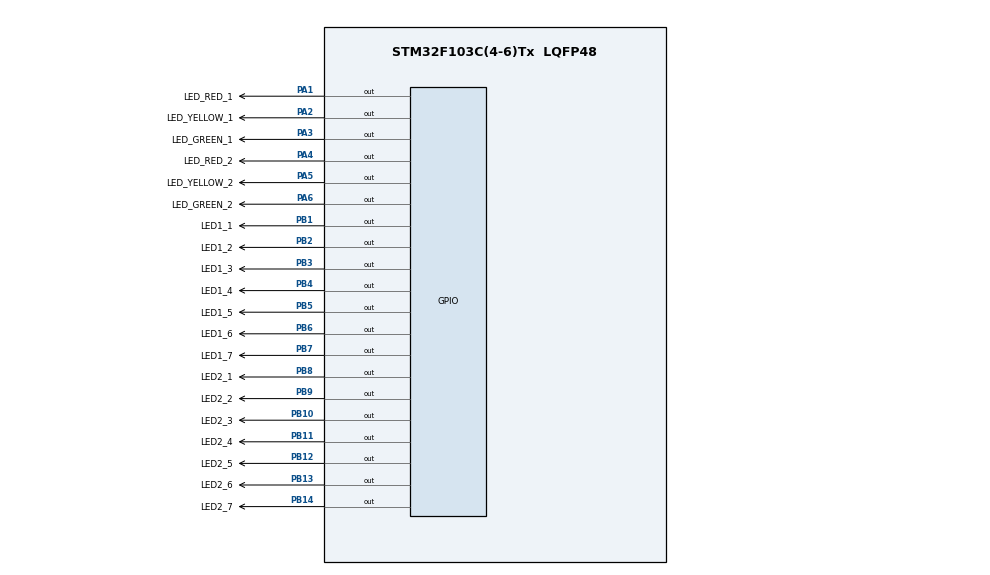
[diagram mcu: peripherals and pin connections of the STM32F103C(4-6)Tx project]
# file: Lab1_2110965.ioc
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Mcu.Family=STM32F1
Mcu.Name=STM32F103C(4-6)Tx
Mcu.Package=LQFP48
NVIC.PriorityGroup=NVIC_PRIORITYGROUP_4
PA1.GPIO_Label=LED_RED_1
PA1.Signal=GPIO_Output
PA2.GPIO_Label=LED_YELLOW_1
PA2.Signal=GPIO_Output
PA3.GPIO_Label=LED_GREEN_1
PA3.Signal=GPIO_Output
PA4.GPIO_Label=LED_RED_2
PA4.Signal=GPIO_Output
PA5.GPIO_Label=LED_YELLOW_2
PA5.Signal=GPIO_Output
PA6.GPIO_Label=LED_GREEN_2
PA6.Signal=GPIO_Output
PB1.GPIO_Label=LED1_1
PB1.Signal=GPIO_Output
PB10.GPIO_Label=LED2_3
PB10.Signal=GPIO_Output
PB11.GPIO_Label=LED2_4
PB11.Signal=GPIO_Output
PB12.GPIO_Label=LED2_5
PB12.Signal=GPIO_Output
PB13.GPIO_Label=LED2_6
PB13.Signal=GPIO_Output
PB14.GPIO_Label=LED2_7
PB14.Signal=GPIO_Output
PB2.GPIO_Label=LED1_2
PB2.Signal=GPIO_Output
PB3.GPIO_Label=LED1_3
PB3.Signal=GPIO_Output
PB4.GPIO_Label=LED1_4
PB4.Signal=GPIO_Output
PB5.GPIO_Label=LED1_5
PB5.Signal=GPIO_Output
PB6.GPIO_Label=LED1_6
PB6.Signal=GPIO_Output
PB7.GPIO_Label=LED1_7
PB7.Signal=GPIO_Output
PB8.GPIO_Label=LED2_1
PB8.Signal=GPIO_Output
PB9.GPIO_Label=LED2_2
PB9.Signal=GPIO_Output
ProjectManager.HeapSize=0x200
ProjectManager.StackSize=0x400
ProjectManager.TargetToolchain=STM32CubeIDE
RCC.APB1Freq_Value=8000000
RCC.APB2Freq_Value=8000000
board=custom

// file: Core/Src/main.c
/* USER CODE BEGIN Header */
/**
  ******************************************************************************
  * @file           : main.c
  * @brief          : Main program body
  ******************************************************************************
  * @attention
  *
  * Copyright (c) 2024 STMicroelectronics.
  * All rights reserved.
  *
  * This software is licensed under terms that can be found in the LICENSE file
  * in the root directory of this software component.
  * If no LICENSE file comes with this software, it is provided AS-IS.
  *
  ******************************************************************************
  */
/* USER CODE END Header */
#include "main.h"

void SystemClock_Config(void);
static void MX_GPIO_Init(void);

/* USER CODE BEGIN 0 */
//	void exercise1(){
//		int count = 0;
//		int count2 = 0;
//		int led_status_red = 1;
//		int led_status_yellow = 0;
//		while(1){
//			if (count < 2){
//				count++;
//				HAL_GPIO_WritePin(LED_RED_GPIO_Port, LED_RED_Pin, led_status_red);
//			}
//			else{
//				count = 0;
//				led_status_red = 1 - led_status_red;
//			}
//			if (count2 < 2){
//				count2++;
//				HAL_GPIO_WritePin(LED_YELLOW_GPIO_Port, LED_YELLOW_Pin, led_status_yellow);
//			}
//			else{
//				count2 = 0;
//				led_status_yellow = 1 - led_status_yellow;
//			}
//			HAL_Delay(1000);
//		}
//	}
//	void exercise2(){
//		int count = 0;
//		int led_on = 0;
//		int led_off = 1;
//		while(1){
//			if (count < 5){
//				HAL_GPIO_WritePin(LED_RED_GPIO_Port, LED_RED_Pin, led_on);
//				HAL_GPIO_WritePin(LED_YELLOW_GPIO_Port, LED_YELLOW_Pin, led_off);
//				HAL_GPIO_WritePin(LED_GREEN_GPIO_Port, LED_GREEN_Pin, led_off);
//				count++;
//			}
//			else if (count >= 5 && count < 7){
//				HAL_GPIO_WritePin(LED_RED_GPIO_Port, LED_RED_Pin, led_off);
//				HAL_GPIO_WritePin(LED_YELLOW_GPIO_Port, LED_YELLOW_Pin, led_on);
//				HAL_GPIO_WritePin(LED_GREEN_GPIO_Port, LED_GREEN_Pin, led_off);
//				count++;
//			}
//			else if (count >= 7 && count < 10){
//				HAL_GPIO_WritePin(LED_RED_GPIO_Port, LED_RED_Pin, led_off);
//				HAL_GPIO_WritePin(LED_YELLOW_GPIO_Port, LED_YELLOW_Pin, led_off);
//				HAL_GPIO_WritePin(LED_GREEN_GPIO_Port, LED_GREEN_Pin, led_on);
//				count ++;
//			}
//			else{
//				count = 0;
//				HAL_GPIO_WritePin(LED_RED_GPIO_Port, LED_RED_Pin, led_on);
//				HAL_GPIO_WritePin(LED_YELLOW_GPIO_Port, LED_YELLOW_Pin, led_off);
//				HAL_GPIO_WritePin(LED_GREEN_GPIO_Port, LED_GREEN_Pin, led_off);
//			}
//			HAL_Delay(1000);
//		}
//	}
//	void exercise3(){
//		int led_on = 0;
//		int led_off = 1;
//		int count1 = 0;
//		while (1){
//			if (count1 < 5){
//				count1++;
//				HAL_GPIO_WritePin(LED_RED_1_GPIO_Port, LED_RED_1_Pin, led_on);
//				HAL_GPIO_WritePin(LED_YELLOW_1_GPIO_Port, LED_YELLOW_1_Pin, led_off);
//				HAL_GPIO_WritePin(LED_GREEN_1_GPIO_Port, LED_GREEN_1_Pin, led_off);
//
//				HAL_GPIO_WritePin(LED_RED_2_GPIO_Port, LED_RED_2_Pin, led_off);
//				HAL_GPIO_WritePin(LED_YELLOW_2_GPIO_Port, LED_YELLOW_2_Pin, led_off);
//				HAL_GPIO_WritePin(LED_GREEN_2_GPIO_Port, LED_GREEN_2_Pin, led_on);
//			}
//			else if (count1 >= 5 && count1 < 7){
//				count1++;
//				HAL_GPIO_WritePin(LED_RED_1_GPIO_Port, LED_RED_1_Pin, led_on);
//
//				HAL_GPIO_WritePin(LED_GREEN_2_GPIO_Port, LED_GREEN_2_Pin, led_off);
//				HAL_GPIO_WritePin(LED_YELLOW_2_GPIO_Port, LED_YELLOW_2_Pin, led_on);
//			}
//			else if (count1 >= 7 && count1 < 12){
//				count1++;
//				HAL_GPIO_WritePin(LED_RED_1_GPIO_Port, LED_RED_1_Pin, led_off);
//				HAL_GPIO_WritePin(LED_GREEN_1_GPIO_Port, LED_GREEN_1_Pin, led_on);
//
//				HAL_GPIO_WritePin(LED_YELLOW_2_GPIO_Port, LED_YELLOW_2_Pin, led_off);
//				HAL_GPIO_WritePin(LED_RED_2_GPIO_Port, LED_RED_2_Pin, led_on);
//			}
//			else if (count1 >= 12 && count1 < 14){
//				count1++;
//				HAL_GPIO_WritePin(LED_GREEN_1_GPIO_Port, LED_GREEN_1_Pin, led_off);
//				HAL_GPIO_WritePin(LED_YELLOW_1_GPIO_Port, LED_YELLOW_1_Pin, led_on);
//
//				HAL_GPIO_WritePin(LED_GREEN_2_GPIO_Port, LED_GREEN_2_Pin, led_off);
//				HAL_GPIO_WritePin(LED_RED_2_GPIO_Port, LED_RED_2_Pin, led_on);
//			}
//
//			else if (count1 >= 14) {
//				count1 = 0;
//				HAL_GPIO_WritePin(LED_YELLOW_1_GPIO_Port, LED_YELLOW_1_Pin, led_off);
//				HAL_GPIO_WritePin(LED_RED_1_GPIO_Port, LED_RED_1_Pin, led_on);
//
//				HAL_GPIO_WritePin(LED_RED_2_GPIO_Port, LED_RED_2_Pin, led_off);
//				HAL_GPIO_WritePin(LED_GREEN_2_GPIO_Port, LED_GREEN_2_Pin, led_on);
//			}
//			HAL_Delay(1000);
//		}
//	}
//void display7SEG(int counter) {
//    const int led_on = 0;
//    const int led_off = 1;
//    // Tắt tất cả các LED trước khi hiển thị
//    HAL_GPIO_WritePin(LED1_GPIO_Port, LED1_Pin, led_off);
//    HAL_GPIO_WritePin(LED2_GPIO_Port, LED2_Pin, led_off);
//    HAL_GPIO_WritePin(LED3_GPIO_Port, LED3_Pin, led_off);
//    HAL_GPIO_WritePin(LED4_GPIO_Port, LED4_Pin, led_off);
//    HAL_GPIO_WritePin(LED5_GPIO_Port, LED5_Pin, led_off);
//    HAL_GPIO_WritePin(LED6_GPIO_Port, LED6_Pin, led_off);
//    HAL_GPIO_WritePin(LED7_GPIO_Port, LED7_Pin, led_off);
//
//    // Bật các LED theo giá trị của counter
//    switch (counter) {
//        case 0:
//            HAL_GPIO_WritePin(LED1_GPIO_Port, LED1_Pin, led_on);
//            HAL_GPIO_WritePin(LED2_GPIO_Port, LED2_Pin, led_on);
//            HAL_GPIO_WritePin(LED3_GPIO_Port, LED3_Pin, led_on);
//            HAL_GPIO_WritePin(LED4_GPIO_Port, LED4_Pin, led_on);
//            HAL_GPIO_WritePin(LED5_GPIO_Port, LED5_Pin, led_on);
//            HAL_GPIO_WritePin(LED6_GPIO_Port, LED6_Pin, led_on);
//            HAL_GPIO_WritePin(LED7_GPIO_Port, LED7_Pin, led_off);
//            break;
//        case 1:
//            HAL_GPIO_WritePin(LED2_GPIO_Port, LED2_Pin, led_on);
//            HAL_GPIO_WritePin(LED3_GPIO_Port, LED3_Pin, led_on);
//            break;
//        case 2:
//            HAL_GPIO_WritePin(LED1_GPIO_Port, LED1_Pin, led_on);
//            HAL_GPIO_WritePin(LED2_GPIO_Port, LED2_Pin, led_on);
//            HAL_GPIO_WritePin(LED4_GPIO_Port, LED4_Pin, led_on);
//            HAL_GPIO_WritePin(LED5_GPIO_Port, LED5_Pin, led_on);
//            HAL_GPIO_WritePin(LED7_GPIO_Port, LED7_Pin, led_on);
//            break;
//        case 3:
//            HAL_GPIO_WritePin(LED1_GPIO_Port, LED1_Pin, led_on);
//            HAL_GPIO_WritePin(LED2_GPIO_Port, LED2_Pin, led_on);
//            HAL_GPIO_WritePin(LED3_GPIO_Port, LED3_Pin, led_on);
//            HAL_GPIO_WritePin(LED4_GPIO_Port, LED4_Pin, led_on);
//            HAL_GPIO_WritePin(LED7_GPIO_Port, LED7_Pin, led_on);
//            break;
//        case 4:
//            HAL_GPIO_WritePin(LED2_GPIO_Port, LED2_Pin, led_on);
//            HAL_GPIO_WritePin(LED3_GPIO_Port, LED3_Pin, led_on);
//            HAL_GPIO_WritePin(LED6_GPIO_Port, LED6_Pin, led_on);
//            HAL_GPIO_WritePin(LED7_GPIO_Port, LED7_Pin, led_on);
//            break;
//        case 5:
//            HAL_GPIO_WritePin(LED1_GPIO_Port, LED1_Pin, led_on);
//            HAL_GPIO_WritePin(LED3_GPIO_Port, LED3_Pin, led_on);
//            HAL_GPIO_WritePin(LED4_GPIO_Port, LED4_Pin, led_on);
//            HAL_GPIO_WritePin(LED6_GPIO_Port, LED6_Pin, led_on);
//            HAL_GPIO_WritePin(LED7_GPIO_Port, LED7_Pin, led_on);
//            break;
//        case 6:
//            HAL_GPIO_WritePin(LED1_GPIO_Port, LED1_Pin, led_on);
//            HAL_GPIO_WritePin(LED3_GPIO_Port, LED3_Pin, led_on);
//            HAL_GPIO_WritePin(LED4_GPIO_Port, LED4_Pin, led_on);
//            HAL_GPIO_WritePin(LED5_GPIO_Port, LED5_Pin, led_on);
//            HAL_GPIO_WritePin(LED6_GPIO_Port, LED6_Pin, led_on);
//            HAL_GPIO_WritePin(LED7_GPIO_Port, LED7_Pin, led_on);
//            break;
//        case 7:
//            HAL_GPIO_WritePin(LED1_GPIO_Port, LED1_Pin, led_on);
//            HAL_GPIO_WritePin(LED2_GPIO_Port, LED2_Pin, led_on);
//            HAL_GPIO_WritePin(LED3_GPIO_Port, LED3_Pin, led_on);
//            break;
//        case 8:
//            HAL_GPIO_WritePin(LED1_GPIO_Port, LED1_Pin, led_on);
//            HAL_GPIO_WritePin(LED2_GPIO_Port, LED2_Pin, led_on);
//            HAL_GPIO_WritePin(LED3_GPIO_Port, LED3_Pin, led_on);
//            HAL_GPIO_WritePin(LED4_GPIO_Port, LED4_Pin, led_on);
//            HAL_GPIO_WritePin(LED5_GPIO_Port, LED5_Pin, led_on);
//            HAL_GPIO_WritePin(LED6_GPIO_Port, LED6_Pin, led_on);
//            HAL_GPIO_WritePin(LED7_GPIO_Port, LED7_Pin, led_on);
//            break;
//        case 9:
//            HAL_GPIO_WritePin(LED1_GPIO_Port, LED1_Pin, led_on);
//            HAL_GPIO_WritePin(LED2_GPIO_Port, LED2_Pin, led_on);
//            HAL_GPIO_WritePin(LED3_GPIO_Port, LED3_Pin, led_on);
//            HAL_GPIO_WritePin(LED4_GPIO_Port, LED4_Pin, led_on);
//            HAL_GPIO_WritePin(LED6_GPIO_Port, LED6_Pin, led_on);
//            HAL_GPIO_WritePin(LED7_GPIO_Port, LED7_Pin, led_on);
//            break;
//        default:
//            break;
//    }
//}

//void exercise4() {
//    int counter = 0;
//    while (1) {
//        if (counter >= 10) counter = 0;
//        display7SEG(counter++);
//        HAL_Delay(1000);
//    }
//}
//void display7SEG(int counter) {
//    const int led_on = 0;
//    const int led_off = 1;
//    // Tắt tất cả các LED trước khi hiển thị
//    HAL_GPIO_WritePin(LED1_GPIO_Port, LED1_Pin, led_off);
//    HAL_GPIO_WritePin(LED2_GPIO_Port, LED2_Pin, led_off);
//    HAL_GPIO_WritePin(LED3_GPIO_Port, LED3_Pin, led_off);
//    HAL_GPIO_WritePin(LED4_GPIO_Port, LED4_Pin, led_off);
//    HAL_GPIO_WritePin(LED5_GPIO_Port, LED5_Pin, led_off);
//    HAL_GPIO_WritePin(LED6_GPIO_Port, LED6_Pin, led_off);
//    HAL_GPIO_WritePin(LED7_GPIO_Port, LED7_Pin, led_off);
//
//    // Bật các LED theo giá trị của counter
//    switch (counter) {
//        case 0:
//            HAL_GPIO_WritePin(LED1_GPIO_Port, LED1_Pin, led_on);
//            HAL_GPIO_WritePin(LED2_GPIO_Port, LED2_Pin, led_on);
//            HAL_GPIO_WritePin(LED3_GPIO_Port, LED3_Pin, led_on);
//            HAL_GPIO_WritePin(LED4_GPIO_Port, LED4_Pin, led_on);
//            HAL_GPIO_WritePin(LED5_GPIO_Port, LED5_Pin, led_on);
//            HAL_GPIO_WritePin(LED6_GPIO_Port, LED6_Pin, led_on);
//            HAL_GPIO_WritePin(LED7_GPIO_Port, LED7_Pin, led_off);
//            break;
//        case 1:
//            HAL_GPIO_WritePin(LED2_GPIO_Port, LED2_Pin, led_on);
//            HAL_GPIO_WritePin(LED3_GPIO_Port, LED3_Pin, led_on);
//            break;
//        case 2:
//            HAL_GPIO_WritePin(LED1_GPIO_Port, LED1_Pin, led_on);
//            HAL_GPIO_WritePin(LED2_GPIO_Port, LED2_Pin, led_on);
//            HAL_GPIO_WritePin(LED4_GPIO_Port, LED4_Pin, led_on);
//            HAL_GPIO_WritePin(LED5_GPIO_Port, LED5_Pin, led_on);
//            HAL_GPIO_WritePin(LED7_GPIO_Port, LED7_Pin, led_on);
//            break;
//        case 3:
//            HAL_GPIO_WritePin(LED1_GPIO_Port, LED1_Pin, led_on);
//            HAL_GPIO_WritePin(LED2_GPIO_Port, LED2_Pin, led_on);
//            HAL_GPIO_WritePin(LED3_GPIO_Port, LED3_Pin, led_on);
//            HAL_GPIO_WritePin(LED4_GPIO_Port, LED4_Pin, led_on);
//            HAL_GPIO_WritePin(LED7_GPIO_Port, LED7_Pin, led_on);
//            break;
//        case 4:
//            HAL_GPIO_WritePin(LED2_GPIO_Port, LED2_Pin, led_on);
//            HAL_GPIO_WritePin(LED3_GPIO_Port, LED3_Pin, led_on);
//            HAL_GPIO_WritePin(LED6_GPIO_Port, LED6_Pin, led_on);
//            HAL_GPIO_WritePin(LED7_GPIO_Port, LED7_Pin, led_on);
//            break;
//        case 5:
//            HAL_GPIO_WritePin(LED1_GPIO_Port, LED1_Pin, led_on);
//            HAL_GPIO_WritePin(LED3_GPIO_Port, LED3_Pin, led_on);
//            HAL_GPIO_WritePin(LED4_GPIO_Port, LED4_Pin, led_on);
//            HAL_GPIO_WritePin(LED6_GPIO_Port, LED6_Pin, led_on);
//            HAL_GPIO_WritePin(LED7_GPIO_Port, LED7_Pin, led_on);
//            break;
//        case 6:
//            HAL_GPIO_WritePin(LED1_GPIO_Port, LED1_Pin, led_on);
//            HAL_GPIO_WritePin(LED3_GPIO_Port, LED3_Pin, led_on);
//            HAL_GPIO_WritePin(LED4_GPIO_Port, LED4_Pin, led_on);
//            HAL_GPIO_WritePin(LED5_GPIO_Port, LED5_Pin, led_on);
//            HAL_GPIO_WritePin(LED6_GPIO_Port, LED6_Pin, led_on);
//            HAL_GPIO_WritePin(LED7_GPIO_Port, LED7_Pin, led_on);
//            break;
//        case 7:
//            HAL_GPIO_WritePin(LED1_GPIO_Port, LED1_Pin, led_on);
//            HAL_GPIO_WritePin(LED2_GPIO_Port, LED2_Pin, led_on);
//            HAL_GPIO_WritePin(LED3_GPIO_Port, LED3_Pin, led_on);
//            break;
//        case 8:
//            HAL_GPIO_WritePin(LED1_GPIO_Port, LED1_Pin, led_on);
//            HAL_GPIO_WritePin(LED2_GPIO_Port, LED2_Pin, led_on);
//            HAL_GPIO_WritePin(LED3_GPIO_Port, LED3_Pin, led_on);
//            HAL_GPIO_WritePin(LED4_GPIO_Port, LED4_Pin, led_on);
//            HAL_GPIO_WritePin(LED5_GPIO_Port, LED5_Pin, led_on);
//            HAL_GPIO_WritePin(LED6_GPIO_Port, LED6_Pin, led_on);
//            HAL_GPIO_WritePin(LED7_GPIO_Port, LED7_Pin, led_on);
//            break;
//        case 9:
//            HAL_GPIO_WritePin(LED1_GPIO_Port, LED1_Pin, led_on);
//            HAL_GPIO_WritePin(LED2_GPIO_Port, LED2_Pin, led_on);
//            HAL_GPIO_WritePin(LED3_GPIO_Port, LED3_Pin, led_on);
//            HAL_GPIO_WritePin(LED4_GPIO_Port, LED4_Pin, led_on);
//            HAL_GPIO_WritePin(LED6_GPIO_Port, LED6_Pin, led_on);
//            HAL_GPIO_WritePin(LED7_GPIO_Port, LED7_Pin, led_on);
//            break;
//        default:
//            break;
//    }
//}

void display7SEG1(int counter) {
    const int led_on = 0;
    const int led_off = 1;
    // Tắt tất cả các LED trước khi hiển thị
    HAL_GPIO_WritePin(LED1_1_GPIO_Port, LED1_1_Pin, led_off);
    HAL_GPIO_WritePin(LED1_2_GPIO_Port, LED1_2_Pin, led_off);
    HAL_GPIO_WritePin(LED1_3_GPIO_Port, LED1_3_Pin, led_off);
    HAL_GPIO_WritePin(LED1_4_GPIO_Port, LED1_4_Pin, led_off);
    HAL_GPIO_WritePin(LED1_5_GPIO_Port, LED1_5_Pin, led_off);
    HAL_GPIO_WritePin(LED1_6_GPIO_Port, LED1_6_Pin, led_off);
    HAL_GPIO_WritePin(LED1_7_GPIO_Port, LED1_7_Pin, led_off);

    // Bật các LED theo giá trị của counter
    switch (counter) {
        case 0:
            HAL_GPIO_WritePin(LED1_1_GPIO_Port, LED1_1_Pin, led_on);
            HAL_GPIO_WritePin(LED1_2_GPIO_Port, LED1_2_Pin, led_on);
            HAL_GPIO_WritePin(LED1_3_GPIO_Port, LED1_3_Pin, led_on);
            HAL_GPIO_WritePin(LED1_4_GPIO_Port, LED1_4_Pin, led_on);
            HAL_GPIO_WritePin(LED1_5_GPIO_Port, LED1_5_Pin, led_on);
            HAL_GPIO_WritePin(LED1_6_GPIO_Port, LED1_6_Pin, led_on);
            HAL_GPIO_WritePin(LED1_7_GPIO_Port, LED1_7_Pin, led_off);
            break;
        case 1:
            HAL_GPIO_WritePin(LED1_2_GPIO_Port, LED1_2_Pin, led_on);
            HAL_GPIO_WritePin(LED1_3_GPIO_Port, LED1_3_Pin, led_on);
            break;
        case 2:
            HAL_GPIO_WritePin(LED1_1_GPIO_Port, LED1_1_Pin, led_on);
            HAL_GPIO_WritePin(LED1_2_GPIO_Port, LED1_2_Pin, led_on);
            HAL_GPIO_WritePin(LED1_4_GPIO_Port, LED1_4_Pin, led_on);
            HAL_GPIO_WritePin(LED1_5_GPIO_Port, LED1_5_Pin, led_on);
            HAL_GPIO_WritePin(LED1_7_GPIO_Port, LED1_7_Pin, led_on);
            break;
        case 3:
            HAL_GPIO_WritePin(LED1_1_GPIO_Port, LED1_1_Pin, led_on);
            HAL_GPIO_WritePin(LED1_2_GPIO_Port, LED1_2_Pin, led_on);
            HAL_GPIO_WritePin(LED1_3_GPIO_Port, LED1_3_Pin, led_on);
            HAL_GPIO_WritePin(LED1_4_GPIO_Port, LED1_4_Pin, led_on);
            HAL_GPIO_WritePin(LED1_7_GPIO_Port, LED1_7_Pin, led_on);
            break;
        case 4:
            HAL_GPIO_WritePin(LED1_2_GPIO_Port, LED1_2_Pin, led_on);
            HAL_GPIO_WritePin(LED1_3_GPIO_Port, LED1_3_Pin, led_on);
            HAL_GPIO_WritePin(LED1_6_GPIO_Port, LED1_6_Pin, led_on);
            HAL_GPIO_WritePin(LED1_7_GPIO_Port, LED1_7_Pin, led_on);
            break;
        case 5:
            HAL_GPIO_WritePin(LED1_1_GPIO_Port, LED1_1_Pin, led_on);
            HAL_GPIO_WritePin(LED1_3_GPIO_Port, LED1_3_Pin, led_on);
            HAL_GPIO_WritePin(LED1_4_GPIO_Port, LED1_4_Pin, led_on);
            HAL_GPIO_WritePin(LED1_6_GPIO_Port, LED1_6_Pin, led_on);
            HAL_GPIO_WritePin(LED1_7_GPIO_Port, LED1_7_Pin, led_on);
            break;
        case 6:
            HAL_GPIO_WritePin(LED1_1_GPIO_Port, LED1_1_Pin, led_on);
            HAL_GPIO_WritePin(LED1_3_GPIO_Port, LED1_3_Pin, led_on);
            HAL_GPIO_WritePin(LED1_4_GPIO_Port, LED1_4_Pin, led_on);
            HAL_GPIO_WritePin(LED1_5_GPIO_Port, LED1_5_Pin, led_on);
            HAL_GPIO_WritePin(LED1_6_GPIO_Port, LED1_6_Pin, led_on);
            HAL_GPIO_WritePin(LED1_7_GPIO_Port, LED1_7_Pin, led_on);
            break;
        case 7:
            HAL_GPIO_WritePin(LED1_1_GPIO_Port, LED1_1_Pin, led_on);
            HAL_GPIO_WritePin(LED1_2_GPIO_Port, LED1_2_Pin, led_on);
            HAL_GPIO_WritePin(LED1_3_GPIO_Port, LED1_3_Pin, led_on);
            break;
        case 8:
            HAL_GPIO_WritePin(LED1_1_GPIO_Port, LED1_1_Pin, led_on);
            HAL_GPIO_WritePin(LED1_2_GPIO_Port, LED1_2_Pin, led_on);
            HAL_GPIO_WritePin(LED1_3_GPIO_Port, LED1_3_Pin, led_on);
            HAL_GPIO_WritePin(LED1_4_GPIO_Port, LED1_4_Pin, led_on);
            HAL_GPIO_WritePin(LED1_5_GPIO_Port, LED1_5_Pin, led_on);
            HAL_GPIO_WritePin(LED1_6_GPIO_Port, LED1_6_Pin, led_on);
            HAL_GPIO_WritePin(LED1_7_GPIO_Port, LED1_7_Pin, led_on);
            break;
        case 9:
            HAL_GPIO_WritePin(LED1_1_GPIO_Port, LED1_1_Pin, led_on);
            HAL_GPIO_WritePin(LED1_2_GPIO_Port, LED1_2_Pin, led_on);
            HAL_GPIO_WritePin(LED1_3_GPIO_Port, LED1_3_Pin, led_on);
            HAL_GPIO_WritePin(LED1_4_GPIO_Port, LED1_4_Pin, led_on);
            HAL_GPIO_WritePin(LED1_6_GPIO_Port, LED1_6_Pin, led_on);
            HAL_GPIO_WritePin(LED1_7_GPIO_Port, LED1_7_Pin, led_on);
            break;
        default:
            break;
    }
}
void display7SEG2(int counter) {
    const int led_on = 0;
    const int led_off = 1;
    // Tắt tất cả các LED trước khi hiển thị
    HAL_GPIO_WritePin(LED2_1_GPIO_Port, LED2_1_Pin, led_off);
    HAL_GPIO_WritePin(LED2_2_GPIO_Port, LED2_2_Pin, led_off);
    HAL_GPIO_WritePin(LED2_3_GPIO_Port, LED2_3_Pin, led_off);
    HAL_GPIO_WritePin(LED2_4_GPIO_Port, LED2_4_Pin, led_off);
    HAL_GPIO_WritePin(LED2_5_GPIO_Port, LED2_5_Pin, led_off);
    HAL_GPIO_WritePin(LED2_6_GPIO_Port, LED2_6_Pin, led_off);
    HAL_GPIO_WritePin(LED2_7_GPIO_Port, LED2_7_Pin, led_off);

    // Bật các LED theo giá trị của counter
    switch (counter) {
        case 0:
            HAL_GPIO_WritePin(LED2_1_GPIO_Port, LED2_1_Pin, led_on);
            HAL_GPIO_WritePin(LED2_2_GPIO_Port, LED2_2_Pin, led_on);
            HAL_GPIO_WritePin(LED2_3_GPIO_Port, LED2_3_Pin, led_on);
            HAL_GPIO_WritePin(LED2_4_GPIO_Port, LED2_4_Pin, led_on);
            HAL_GPIO_WritePin(LED2_5_GPIO_Port, LED2_5_Pin, led_on);
            HAL_GPIO_WritePin(LED2_6_GPIO_Port, LED2_6_Pin, led_on);
            HAL_GPIO_WritePin(LED2_7_GPIO_Port, LED2_7_Pin, led_off);
            break;
        case 1:
            HAL_GPIO_WritePin(LED2_2_GPIO_Port, LED2_2_Pin, led_on);
            HAL_GPIO_WritePin(LED2_3_GPIO_Port, LED2_3_Pin, led_on);
            break;
        case 2:
            HAL_GPIO_WritePin(LED2_1_GPIO_Port, LED2_1_Pin, led_on);
            HAL_GPIO_WritePin(LED2_2_GPIO_Port, LED2_2_Pin, led_on);
            HAL_GPIO_WritePin(LED2_4_GPIO_Port, LED2_4_Pin, led_on);
            HAL_GPIO_WritePin(LED2_5_GPIO_Port, LED2_5_Pin, led_on);
            HAL_GPIO_WritePin(LED2_7_GPIO_Port, LED2_7_Pin, led_on);
            break;
        case 3:
            HAL_GPIO_WritePin(LED2_1_GPIO_Port, LED2_1_Pin, led_on);
            HAL_GPIO_WritePin(LED2_2_GPIO_Port, LED2_2_Pin, led_on);
            HAL_GPIO_WritePin(LED2_3_GPIO_Port, LED2_3_Pin, led_on);
            HAL_GPIO_WritePin(LED2_4_GPIO_Port, LED2_4_Pin, led_on);
            HAL_GPIO_WritePin(LED2_7_GPIO_Port, LED2_7_Pin, led_on);
            break;
        case 4:
            HAL_GPIO_WritePin(LED2_2_GPIO_Port, LED2_2_Pin, led_on);
            HAL_GPIO_WritePin(LED2_3_GPIO_Port, LED2_3_Pin, led_on);
            HAL_GPIO_WritePin(LED2_6_GPIO_Port, LED2_6_Pin, led_on);
            HAL_GPIO_WritePin(LED2_7_GPIO_Port, LED2_7_Pin, led_on);
            break;
        case 5:
            HAL_GPIO_WritePin(LED2_1_GPIO_Port, LED2_1_Pin, led_on);
            HAL_GPIO_WritePin(LED2_3_GPIO_Port, LED2_3_Pin, led_on);
            HAL_GPIO_WritePin(LED2_4_GPIO_Port, LED2_4_Pin, led_on);
            HAL_GPIO_WritePin(LED2_6_GPIO_Port, LED2_6_Pin, led_on);
            HAL_GPIO_WritePin(LED2_7_GPIO_Port, LED2_7_Pin, led_on);
            break;
        case 6:
            HAL_GPIO_WritePin(LED2_1_GPIO_Port, LED2_1_Pin, led_on);
            HAL_GPIO_WritePin(LED2_3_GPIO_Port, LED2_3_Pin, led_on);
            HAL_GPIO_WritePin(LED2_4_GPIO_Port, LED2_4_Pin, led_on);
            HAL_GPIO_WritePin(LED2_5_GPIO_Port, LED2_5_Pin, led_on);
            HAL_GPIO_WritePin(LED2_6_GPIO_Port, LED2_6_Pin, led_on);
            HAL_GPIO_WritePin(LED2_7_GPIO_Port, LED2_7_Pin, led_on);
            break;
        case 7:
            HAL_GPIO_WritePin(LED2_1_GPIO_Port, LED2_1_Pin, led_on);
            HAL_GPIO_WritePin(LED2_2_GPIO_Port, LED2_2_Pin, led_on);
            HAL_GPIO_WritePin(LED2_3_GPIO_Port, LED2_3_Pin, led_on);
            break;
        case 8:
            HAL_GPIO_WritePin(LED2_1_GPIO_Port, LED2_1_Pin, led_on);
            HAL_GPIO_WritePin(LED2_2_GPIO_Port, LED2_2_Pin, led_on);
            HAL_GPIO_WritePin(LED2_3_GPIO_Port, LED2_3_Pin, led_on);
            HAL_GPIO_WritePin(LED2_4_GPIO_Port, LED2_4_Pin, led_on);
            HAL_GPIO_WritePin(LED2_5_GPIO_Port, LED2_5_Pin, led_on);
            HAL_GPIO_WritePin(LED2_6_GPIO_Port, LED2_6_Pin, led_on);
            HAL_GPIO_WritePin(LED2_7_GPIO_Port, LED2_7_Pin, led_on);
            break;
        case 9:
            HAL_GPIO_WritePin(LED2_1_GPIO_Port, LED2_1_Pin, led_on);
            HAL_GPIO_WritePin(LED2_2_GPIO_Port, LED2_2_Pin, led_on);
            HAL_GPIO_WritePin(LED2_3_GPIO_Port, LED2_3_Pin, led_on);
            HAL_GPIO_WritePin(LED2_4_GPIO_Port, LED2_4_Pin, led_on);
            HAL_GPIO_WritePin(LED2_6_GPIO_Port, LED2_6_Pin, led_on);
            HAL_GPIO_WritePin(LED2_7_GPIO_Port, LED2_7_Pin, led_on);
            break;
        default:
            break;
    }
}

void exercise5() {
	int led_on = 0;
	int led_off = 1;
	int count1 = 0;
	int count2 = 7;
	int count3 = 5;
	while (1){
		if (count1 < 5){
			display7SEG1(count2);
			count2--;
			count1++;
			HAL_GPIO_WritePin(LED_RED_1_GPIO_Port, LED_RED_1_Pin, led_on);
			HAL_GPIO_WritePin(LED_YELLOW_1_GPIO_Port, LED_YELLOW_1_Pin, led_off);
			HAL_GPIO_WritePin(LED_GREEN_1_GPIO_Port, LED_GREEN_1_Pin, led_off);

			display7SEG2(count3);
			count3--;
			HAL_GPIO_WritePin(LED_RED_2_GPIO_Port, LED_RED_2_Pin, led_off);
			HAL_GPIO_WritePin(LED_YELLOW_2_GPIO_Port, LED_YELLOW_2_Pin, led_off);
			HAL_GPIO_WritePin(LED_GREEN_2_GPIO_Port, LED_GREEN_2_Pin, led_on);
		}
		else if (count1 >= 5 && count1 < 7){
			if (count1 == 5){
				count3 = 2;
			}
			display7SEG1(count2);
			count2--;
			count1++;
			HAL_GPIO_WritePin(LED_RED_1_GPIO_Port, LED_RED_1_Pin, led_on);

			display7SEG2(count3);
			count3--;
			HAL_GPIO_WritePin(LED_GREEN_2_GPIO_Port, LED_GREEN_2_Pin, led_off);
			HAL_GPIO_WritePin(LED_YELLOW_2_GPIO_Port, LED_YELLOW_2_Pin, led_on);
		}
		else if (count1 >= 7 && count1 < 12){
			if (count1 == 7){
				count2 = 5;
				count3 = 7;
			}
			display7SEG1(count2);
			count2--;
			count1++;
			HAL_GPIO_WritePin(LED_RED_1_GPIO_Port, LED_RED_1_Pin, led_off);
			HAL_GPIO_WritePin(LED_GREEN_1_GPIO_Port, LED_GREEN_1_Pin, led_on);

			display7SEG2(count3);
			count3--;
			HAL_GPIO_WritePin(LED_YELLOW_2_GPIO_Port, LED_YELLOW_2_Pin, led_off);
			HAL_GPIO_WritePin(LED_RED_2_GPIO_Port, LED_RED_2_Pin, led_on);
		}
		else if (count1 >= 12 && count1 < 14){
			if (count1 == 12){
				count2 = 2;
			}
			display7SEG1(count2);
			count2--;
			count1++;
			HAL_GPIO_WritePin(LED_GREEN_1_GPIO_Port, LED_GREEN_1_Pin, led_off);
			HAL_GPIO_WritePin(LED_YELLOW_1_GPIO_Port, LED_YELLOW_1_Pin, led_on);

			display7SEG2(count3);
			count3--;
			HAL_GPIO_WritePin(LED_GREEN_2_GPIO_Port, LED_GREEN_2_Pin, led_off);
			HAL_GPIO_WritePin(LED_RED_2_GPIO_Port, LED_RED_2_Pin, led_on);
		}

		else if (count1 >= 14) {
			if (count1 == 14){
				count2 = 7;
				count3 = 5;
			}
			display7SEG1(count2);
			count2--;
			count1 = 0;
			HAL_GPIO_WritePin(LED_YELLOW_1_GPIO_Port, LED_YELLOW_1_Pin, led_off);
			HAL_GPIO_WritePin(LED_RED_1_GPIO_Port, LED_RED_1_Pin, led_on);

			display7SEG2(count3);
			count3--;
			HAL_GPIO_WritePin(LED_RED_2_GPIO_Port, LED_RED_2_Pin, led_off);
			HAL_GPIO_WritePin(LED_GREEN_2_GPIO_Port, LED_GREEN_2_Pin, led_on);
		}
		HAL_Delay(1000);
	}
}
void exercise6() {
    for (int i = 0; i < 12; i++) {
        HAL_GPIO_WritePin(GPIOA, (1 << i), GPIO_PIN_SET);
    }

    while (1) {
        for (int i = 0; i < 12; i++) {
            HAL_GPIO_WritePin(GPIOA, (1 << i), GPIO_PIN_RESET);
            HAL_Delay(500);
        }
    }
}

/* USER CODE END 0 */

int main(void)
{

  /* MCU Configuration--------------------------------------------------------*/

  /* Reset of all peripherals, Initializes the Flash interface and the Systick. */
  HAL_Init();

  /* Configure the system clock */
  SystemClock_Config();

  /* Initialize all configured peripherals */
  MX_GPIO_Init();

  /* Infinite loop */
  /* USER CODE BEGIN WHILE */

//  exercise1();
//  exercise2();
//  exercise3();
//  exercise4();
  exercise5();
//  exercise6();
//  while (1)
//  {
//
    /* USER CODE END WHILE */

    /* USER CODE BEGIN 3 */
//  }
  /* USER CODE END 3 */
}

void SystemClock_Config(void)
{
  RCC_OscInitTypeDef RCC_OscInitStruct = {0};
  RCC_ClkInitTypeDef RCC_ClkInitStruct = {0};

  /** Initializes the RCC Oscillators according to the specified parameters
  * in the RCC_OscInitTypeDef structure.
  */
  RCC_OscInitStruct.OscillatorType = RCC_OSCILLATORTYPE_HSI;
  RCC_OscInitStruct.HSIState = RCC_HSI_ON;
  RCC_OscInitStruct.HSICalibrationValue = RCC_HSICALIBRATION_DEFAULT;
  RCC_OscInitStruct.PLL.PLLState = RCC_PLL_NONE;
  if (HAL_RCC_OscConfig(&RCC_OscInitStruct) != HAL_OK)
  {
    Error_Handler();
  }

  /** Initializes the CPU, AHB and APB buses clocks
  */
  RCC_ClkInitStruct.ClockType = RCC_CLOCKTYPE_HCLK|RCC_CLOCKTYPE_SYSCLK
                              |RCC_CLOCKTYPE_PCLK1|RCC_CLOCKTYPE_PCLK2;
  RCC_ClkInitStruct.SYSCLKSource = RCC_SYSCLKSOURCE_HSI;
  RCC_ClkInitStruct.AHBCLKDivider = RCC_SYSCLK_DIV1;
  RCC_ClkInitStruct.APB1CLKDivider = RCC_HCLK_DIV1;
  RCC_ClkInitStruct.APB2CLKDivider = RCC_HCLK_DIV1;

  if (HAL_RCC_ClockConfig(&RCC_ClkInitStruct, FLASH_LATENCY_0) != HAL_OK)
  {
    Error_Handler();
  }
}

static void MX_GPIO_Init(void)
{
  GPIO_InitTypeDef GPIO_InitStruct = {0};

  /* GPIO Ports Clock Enable */
  __HAL_RCC_GPIOA_CLK_ENABLE();
  __HAL_RCC_GPIOB_CLK_ENABLE();

  /*Configure GPIO pin Output Level */
  HAL_GPIO_WritePin(GPIOA, LED_RED_1_Pin|LED_YELLOW_1_Pin|LED_GREEN_1_Pin|LED_RED_2_Pin
                          |LED_YELLOW_2_Pin|LED_GREEN_2_Pin, GPIO_PIN_RESET);

  /*Configure GPIO pin Output Level */
  HAL_GPIO_WritePin(GPIOB, LED1_1_Pin|LED1_2_Pin|LED2_3_Pin|LED2_4_Pin
                          |LED2_5_Pin|LED2_6_Pin|LED2_7_Pin|LED1_3_Pin
                          |LED1_4_Pin|LED1_5_Pin|LED1_6_Pin|LED1_7_Pin
                          |LED2_1_Pin|LED2_2_Pin, GPIO_PIN_RESET);

  /*Configure GPIO pins : LED_RED_1_Pin LED_YELLOW_1_Pin LED_GREEN_1_Pin LED_RED_2_Pin
                           LED_YELLOW_2_Pin LED_GREEN_2_Pin */
  GPIO_InitStruct.Pin = LED_RED_1_Pin|LED_YELLOW_1_Pin|LED_GREEN_1_Pin|LED_RED_2_Pin
                          |LED_YELLOW_2_Pin|LED_GREEN_2_Pin;
  GPIO_InitStruct.Mode = GPIO_MODE_OUTPUT_PP;
  GPIO_InitStruct.Pull = GPIO_NOPULL;
  GPIO_InitStruct.Speed = GPIO_SPEED_FREQ_LOW;
  HAL_GPIO_Init(GPIOA, &GPIO_InitStruct);

  /*Configure GPIO pins : LED1_1_Pin LED1_2_Pin LED2_3_Pin LED2_4_Pin
                           LED2_5_Pin LED2_6_Pin LED2_7_Pin LED1_3_Pin
                           LED1_4_Pin LED1_5_Pin LED1_6_Pin LED1_7_Pin
                           LED2_1_Pin LED2_2_Pin */
  GPIO_InitStruct.Pin = LED1_1_Pin|LED1_2_Pin|LED2_3_Pin|LED2_4_Pin
                          |LED2_5_Pin|LED2_6_Pin|LED2_7_Pin|LED1_3_Pin
                          |LED1_4_Pin|LED1_5_Pin|LED1_6_Pin|LED1_7_Pin
                          |LED2_1_Pin|LED2_2_Pin;
  GPIO_InitStruct.Mode = GPIO_MODE_OUTPUT_PP;
  GPIO_InitStruct.Pull = GPIO_NOPULL;
  GPIO_InitStruct.Speed = GPIO_SPEED_FREQ_LOW;
  HAL_GPIO_Init(GPIOB, &GPIO_InitStruct);

}

void Error_Handler(void)
{
  __disable_irq();
  while (1)
  {
  }
}
